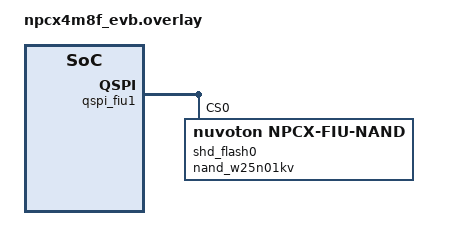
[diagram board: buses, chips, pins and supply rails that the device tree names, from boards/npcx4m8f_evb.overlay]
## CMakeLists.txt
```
# SPDX-License-Identifier: Apache-2.0

cmake_minimum_required(VERSION 3.13.1)

find_package(Zephyr REQUIRED HINTS $ENV{ZEPHYR_BASE})
project(npcx_tests)

zephyr_library_include_directories(${ZEPHYR_BASE}/drivers/flash)

target_sources(app PRIVATE src/main.c)
```

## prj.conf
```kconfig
CONFIG_SERIAL=y
CONFIG_NATIVE_UART_0_ON_STDINOUT=y
CONFIG_PRINTK=y
CONFIG_UART_INTERRUPT_DRIVEN=y
CONFIG_SHELL=y
CONFIG_SHELL_PROMPT_UART="ec:~$ "
CONFIG_LOG=y
CONFIG_FLASH=y
CONFIG_SPI=y
CONFIG_FLASH_JESD216_API=y
CONFIG_LOG_BLOCK_IN_THREAD=y
CONFIG_FLASH_EX_OP_ENABLED=y
```

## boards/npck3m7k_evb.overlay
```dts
/*
 * Copyright (c) 2023 Nuvoton Technology Corporation.
 *
 * SPDX-License-Identifier: Apache-2.0
 */

/ {
	aliases {
		/* For samples/drivers/spi_flash */
		spi-flash0 = &shared_flash;
		shd-flash = &shared_flash;
	};
};
```

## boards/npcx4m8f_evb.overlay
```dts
/*
 * Copyright (c) 2023 Nuvoton Technology Corporation.
 *
 * SPDX-License-Identifier: Apache-2.0
 */

/ {
	chosen {
		zephyr,shell-uart = &uart1;
	};

	aliases {
		/* For samples/drivers/spi_flash */
		spi-flash0 = &shd_flash0;
	};
};

&qspi_fiu1 {
	status = "okay";
	en-direct-access-2dev;

	shd_flash0: nand_w25n01kv@0 {
		compatible ="nuvoton,npcx-fiu-nand";
		size = <0x40000000>; /* 1G bits = 128 Mbytes */
		max-timeout = <86784>;
		reg = <0>;

		status = "okay";

		/* Config for npcx4 SVB board - CS0 */
		qspi-flags = <(NPCX_QSPI_SW_CS0 | NPCX_QSPI_FIU_DRV1)>;
		mapped-addr = <0x68000000>;
		pinctrl-0 = <&fiu_ext_io0_io1_clk_cs_gpa4_96_a2_a0
			     &fiu_ext_quad_io2_io3_gp93_a7
			     &ext_flash_tris_off>;
		pinctrl-names = "default";

		/* Config for npcx4 PIGGY board - CS1 */
		/* qspi-flags = <(NPCX_QSPI_SW_CS0 | NPCX_QSPI_SEC_FLASH_SL |
		                  NPCX_QSPI_FIU_DRV1)>;
		mapped-addr = <0x6C000000>;
		pinctrl-0 = <&fiu_ext_io0_io1_clk_cs_gpa4_96_a2_a0
			     &fiu_ext_quad_io2_io3_gp93_a7
			     &ext_flash_tris_off
			     &ext_flash_cs1_sl>;
		pinctrl-names = "default"; */

		/* Read, write mode selection */
		rd-mode = "NPCX_RD_MODE_FAST_QUAD";
		dmm-cyc = <0x84>;
		wr-mode = "QUAD_OUTPUT";

		/* NAND flash information */
		page-size = <0x800>;    /* 1 page = 2048 bytes*/
		page-num = <0x10000>;
		block-size = <0x20000>; /* 1 block = 64 pages = 128K */
		block-num = <0x400>;
	};
};
```

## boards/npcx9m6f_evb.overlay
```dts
/*
 * Copyright (c) 2023 Nuvoton Technology Corporation.
 *
 * SPDX-License-Identifier: Apache-2.0
 */

/ {
	chosen {
		zephyr,shell-uart = &uart1;
	};

	aliases {
		/* For samples/drivers/spi_flash */
		spi-flash0 = &int_flash;
	};
};
```

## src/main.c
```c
/*
 * Copyright (c) 2023 Nuvoton Technology Corporation.
 *
 * SPDX-License-Identifier: Apache-2.0
 */

#include <zephyr/device.h>
#ifdef CONFIG_FLASH_EX_OP_ENABLED
#include <zephyr/drivers/flash/npcx_flash_api_ex.h>
#endif /* CONFIG_FLASH_EX_OP_ENABLED */
#include <jesd216.h>
#include "spi_nand.h"
#include <zephyr/kernel.h>
#include <zephyr/pm/policy.h>
#include <zephyr/shell/shell.h>
#include <zephyr/shell/shell_uart.h>
#include <stdlib.h>
#include <stdio.h>

/* Target drivers for testing */
#include <zephyr/drivers/flash.h>

#define LOG_LEVEL LOG_LEVEL_INF
#include <zephyr/logging/log.h>
LOG_MODULE_REGISTER(flash);

#define FLASH_DEV0 DT_ALIAS(spi_flash0)
#define FLASH_DEV1 DT_ALIAS(spi_flash1)
#define FLASH_DEV2 DT_ALIAS(spi_flash2)
/* Get device from device tree */
static const struct device *const flash_devices[] = {
#if DT_NODE_HAS_STATUS(FLASH_DEV0, okay)
	DEVICE_DT_GET(FLASH_DEV0),
#endif
#if DT_NODE_HAS_STATUS(FLASH_DEV1, okay)
	DEVICE_DT_GET(FLASH_DEV1),
#endif
#if DT_NODE_HAS_STATUS(FLASH_DEV2, okay)
	DEVICE_DT_GET(FLASH_DEV2),
#endif
};

#define shell_printk(...) \
	shell_print(sh_ptr, ##__VA_ARGS__)

#define NUM_FLASH_DEVICE ARRAY_SIZE(flash_devices)
uint8_t flash_dev_idx_sel;

#define CAL_DATA_FROM_ADDR(n) ((uint8_t)(((n) * 3) + 2) + (n >> 11))

/* Data buffer */
#define TEMP_DATA_BUF_SIZE 2048
static uint8_t temp_data_buf[TEMP_DATA_BUF_SIZE];

/* Commands used for validation */
enum {
	NAND_FLASH_CMD_READ_ID,
	NAND_FLASH_CMD_ERASE,
	NAND_FLASH_CMD_READ,
	NAND_FLASH_CMD_WRITE,
	NAND_FLASH_CMD_READ_STS_REG,
	NAND_FLASH_CMD_WRITE_STS_REG,
	NAND_FLASH_CMD_WP_EN,
	NAND_FLASH_CMD_IS_WP_EN,
	NAND_FLASH_CMD_GET_BAD_BLOCK_LUT,
	NAND_FLASH_CMD_COUNT,
};

/* Objects used for validation */
static struct {
	int cmd;
	struct k_sem sem_sync;

	/* command args */
	struct {
		uint32_t erase_addr;
		uint32_t erase_size;
	} cmd_flash_erase_args;

	struct {
		uint32_t read_addr;
		uint32_t read_size;
	} cmd_flash_read_args;

	struct {
		uint32_t write_addr;
		uint32_t write_size;
	} cmd_flash_write_args;

	struct {
		uint8_t status[2];
	} cmd_flash_wr_status_args;
} nand_flash_test_objs;


uint8_t sts_reg_addr[FLASH_STS_REG_MAX] = {NAND_STS_REG1_ADDR,
									NAND_STS_REG2_ADDR,
									NAND_STS_REG3_ADDR};

struct nand_flash_lut nand_lut;
const struct shell *sh_ptr;

/* Test Function Declarations */
static int nand_flash_read_id(const struct device *flash_dev)
{
	uint8_t id[3];
	int rc;

	rc = flash_read_jedec_id(flash_dev, id);
	if (rc == 0) {
		shell_info(sh_ptr, "JEDEC ID = %#02x %#02x %#02x",
		       id[0], id[1], id[2]);
	} else {
		shell_info(sh_ptr, "JEDEC ID read failed: %d\n", rc);
	}

	return 0;
}

static int nand_flash_erase(const struct device *flash_dev, off_t addr, size_t size)
{
	int rc;
	uint32_t i;
	size_t temp_size, read_size;
	off_t read_addr;

	if (size > SPI_NAND_BLOCK_NUM) {
		LOG_ERR("erase block count exceed %d", SPI_NAND_BLOCK_NUM);
		return -ENODEV;
	}

	size = size * SPI_NAND_BLOCK_SIZE;

	/* Block erase */
	rc = flash_erase(flash_dev, addr, size);
	if (rc != 0) {
		LOG_ERR("flash_erase() failed: %d", rc);
		return -ENODEV;
	}

	/* Read back check */
	temp_size = size;
	read_addr = addr;
	while (temp_size) {
		read_size = (temp_size >= TEMP_DATA_BUF_SIZE) ? TEMP_DATA_BUF_SIZE : temp_size;

		rc = flash_read(flash_dev, read_addr, temp_data_buf, read_size);
		if (rc != 0) {
			LOG_ERR("flash_read() failed: %d", rc);
			return -ENODEV;
		}

		for (i = 0; i < read_size; i++) {
			if (temp_data_buf[i] != 0xFF) {
				LOG_ERR("flash_erase() check failed. Addr: 0x%lx, Data: 0x%x",
					(read_addr + i), temp_data_buf[i]);
				return -ENODEV;
			}
		}

		read_addr += read_size;
		temp_size -= read_size;
	}


	shell_info(sh_ptr, "[PASS] Flash erase succeeded!");
	shell_info(sh_ptr, "[GO]");

	return 0;
}

static int nand_flash_read(const struct device *flash_dev, off_t addr, size_t size)
{
	int rc;
	uint8_t golden8;
	size_t temp_size, read_size;
	off_t read_addr;

	temp_size = size;
	read_addr = addr;
	shell_info(sh_ptr, "Flash Address: 0x%lx, size: 0x%x", addr, size);

	while (temp_size) {
		read_size = (temp_size >= TEMP_DATA_BUF_SIZE) ? TEMP_DATA_BUF_SIZE : temp_size;

		memset(temp_data_buf, 0, sizeof(temp_data_buf));
		rc = flash_read(flash_dev, read_addr, temp_data_buf, read_size);
		if (rc != 0) {
			LOG_ERR("flash_read() failed: %d", rc);
			return -ENODEV;
		}

		/* Verify golden */
		for (int i = 0; i < read_size; i++) {
			golden8 = CAL_DATA_FROM_ADDR((read_addr + i));

			if (temp_data_buf[i] != golden8) {
				shell_info(sh_ptr, "[FAIL] addr=%ld(%#lx), data=%#x, golden: %#x",
						(read_addr + i), (read_addr + i),
						temp_data_buf[i], golden8);
				return -ENODEV;
			}
		}

		read_addr += read_size;
		temp_size -= read_size;
	}

	shell_info(sh_ptr, "[PASS] Flash read succeeded!");
	shell_info(sh_ptr, "[GO]");
	return 0;
}

static int nand_flash_write(const struct device *flash_dev, off_t addr, size_t size)
{
	int ret;
	uint32_t tmp_size;

	/* check address and size sector (512 byte) alignment */
	if ((addr & 0x1ff) != 0 || (size & 0x1ff) != 0) {
		LOG_ERR("flash addr or size not 512 byte alignment");
		return -ENODEV;
	}

	while (size > 0) {
		if (size >= sizeof(temp_data_buf))
			tmp_size = sizeof(temp_data_buf);
		else
			tmp_size = size;

		/* Write golden */
		memset(temp_data_buf, 0, sizeof(temp_data_buf));
		for (int i = 0 ; i < tmp_size ; i++) {
			temp_data_buf[i]  = CAL_DATA_FROM_ADDR((addr + i));
		}

		/* Program data into flash */
		ret = flash_write(flash_dev, addr, temp_data_buf, tmp_size);
		if (ret != 0) {
			LOG_ERR("nand flash write failed: %d", ret);
			return -ENODEV;
		}

		size -= tmp_size;
		addr += tmp_size;
	}

	shell_info(sh_ptr, "Flash write succeeded!");
	shell_info(sh_ptr, "[GO]");
	return 0;
}

static int nand_flash_rdst(const struct device *flash_dev, uint8_t *dest)
{
	struct npcx_ex_ops_uma_in op_in = {
		.opcode = SPI_NAND_CMD_RDSR,
		.tx_buf = sts_reg_addr,
		.tx_count = 1,
		.rx_count = 1,
	};

	struct npcx_ex_ops_uma_out op_out = {
		.rx_buf = dest,
	};

	/* Read status 1 reg */
	flash_ex_op(flash_devices[flash_dev_idx_sel],
					FLASH_NPCX_EX_OP_EXEC_UMA,
					(uintptr_t)&op_in, &op_out);

	/* Read status 2 reg */
	op_in.tx_buf = sts_reg_addr + 1;
	op_out.rx_buf = dest + 1;

	flash_ex_op(flash_devices[flash_dev_idx_sel],
					FLASH_NPCX_EX_OP_EXEC_UMA,
					(uintptr_t)&op_in, &op_out);

	/* Read status 3 reg */
	op_in.tx_buf = sts_reg_addr + 2;
	op_out.rx_buf = dest + 2;
	flash_ex_op(flash_devices[flash_dev_idx_sel],
					FLASH_NPCX_EX_OP_EXEC_UMA,
					(uintptr_t)&op_in, &op_out);
	return 0;
}

static int nand_flash_wrst(const struct device *flash_dev,
				uint8_t reg1, uint8_t reg2)
{
	uint8_t tx_val[2];
	struct npcx_ex_ops_uma_in op_in;

	/* Write status_1 regs */
	tx_val[0] = sts_reg_addr[0]; /* pack addr */
	tx_val[1] = reg1;			 /* pack data */
	op_in.opcode = SPI_NAND_CMD_WRSR;
	op_in.tx_buf = tx_val;
	op_in.tx_count = 2;
	flash_ex_op(flash_dev,
				FLASH_NPCX_EX_OP_EXEC_UMA,
				(uintptr_t)&op_in, NULL);

	/* Write status_2 regs */
	tx_val[0] = sts_reg_addr[1];
	tx_val[1] = reg2;
	op_in.opcode = SPI_NAND_CMD_WRSR;
	op_in.tx_buf = tx_val;
	op_in.tx_count = 2;
	flash_ex_op(flash_dev,
				FLASH_NPCX_EX_OP_EXEC_UMA,
				(uintptr_t)&op_in, NULL);
	return 0;
}

static int nand_flash_get_lut(const struct device *flash_dev,
				struct nand_flash_lut *lut_ptr)
{
	return flash_ex_op(flash_dev, FLASH_NPCX_EX_OP_NAND_GET_BAD_BLOCK_LUT,
				(uintptr_t)NULL, lut_ptr);
}

static void nand_flash_thread_entry(void)
{
	for (int i = 0; i < NUM_FLASH_DEVICE; i++) {
		if (!device_is_ready(flash_devices[i])) {
			LOG_ERR("flash device %s is not ready", flash_devices[i]->name);
			return;
		}

		LOG_INF("flash device [%d]:%s is ready", i, flash_devices[i]->name);
	}

	/* Init semaphore first */
	k_sem_init(&nand_flash_test_objs.sem_sync, 0, 1);

	while (true) {
		/* Task wait event here */
		k_sem_take(&nand_flash_test_objs.sem_sync, K_FOREVER);

		switch (nand_flash_test_objs.cmd) {
		case NAND_FLASH_CMD_READ_ID:
			shell_info(sh_ptr, "Read NAND FLASH ID");
			nand_flash_read_id(flash_devices[flash_dev_idx_sel]);
			break;
		case NAND_FLASH_CMD_ERASE:
			shell_info(sh_ptr, "Erase NAND FLASH");
			nand_flash_erase(flash_devices[flash_dev_idx_sel],
					nand_flash_test_objs.cmd_flash_erase_args.erase_addr,
					nand_flash_test_objs.cmd_flash_erase_args.erase_size);
			break;
		case NAND_FLASH_CMD_READ:
			shell_info(sh_ptr, "Read NAND FLASH");
			nand_flash_read(flash_devices[flash_dev_idx_sel],
				       nand_flash_test_objs.cmd_flash_read_args.read_addr,
				       nand_flash_test_objs.cmd_flash_read_args.read_size);
			break;
		case NAND_FLASH_CMD_WRITE:
			shell_info(sh_ptr, "Write NAND FLASH");
			nand_flash_write(flash_devices[flash_dev_idx_sel],
					nand_flash_test_objs.cmd_flash_write_args.write_addr,
					nand_flash_test_objs.cmd_flash_write_args.write_size);
			break;
#ifdef CONFIG_FLASH_EX_OP_ENABLED
		case NAND_FLASH_CMD_READ_STS_REG:
		{
			uint8_t reg[3];

			nand_flash_rdst(flash_devices[flash_dev_idx_sel], reg);
			shell_info(sh_ptr, "READ NAND FLASH STATUS 0~3 (%#02x, %#02x, %#02x)",
					reg[0], reg[1], reg[2]);
			break;
		}
		case NAND_FLASH_CMD_WRITE_STS_REG:
		{
			uint8_t reg[2];

			reg[0] = nand_flash_test_objs.cmd_flash_wr_status_args.status[0];
			reg[1] = nand_flash_test_objs.cmd_flash_wr_status_args.status[1];
			shell_info(sh_ptr, "WRITE NAND FLASH STATUS 0 and 1 (%#02x, %#02x)", reg[0], reg[1]);
			nand_flash_wrst(flash_devices[flash_dev_idx_sel], reg[0], reg[1]);
			break;
		}
		case NAND_FLASH_CMD_GET_BAD_BLOCK_LUT:
		{
			struct nand_flash_lut nand_lut;

			shell_info(sh_ptr, "Get bad block lut");
			nand_flash_get_lut(flash_devices[flash_dev_idx_sel],
								&nand_lut);

			/* Show result */
			shell_info(sh_ptr, "Is lut init: %s",
					(nand_lut.is_inited == 1) ? "YES" : "NO");
			if (nand_lut.bbt_count <= 0x0) {
				shell_info(sh_ptr, "All blocks are good !!");
			} else {
				shell_info(sh_ptr, "Bad block count: %d", nand_lut.bbt_count);
				/* Show bad block index (0~1023) */
				for (int i = 0; i < nand_lut.bbt_count; i++)
					shell_info(sh_ptr, "Bad block index: %d",
							nand_lut.bbt_list[i]);
			}

			break;
		}
#endif /* CONFIG_FLASH_EX_OP_ENABLED */
		default:
			break;
		}
	};
}

/* Test thread declaration */
#define STACK_SIZE      1024
#define THREAD_PRIORITY 1
K_THREAD_DEFINE(nand_flash_thread_id, STACK_SIZE, nand_flash_thread_entry, NULL, NULL, NULL,
		THREAD_PRIORITY, 0, -1);

int main(void)
{

	/* Zephyr driver validation main */
	LOG_INF("Start CI20 Validation Task");

	/* Init thread */
	k_thread_name_set(nand_flash_thread_id, "nand_flash_testing");
	k_thread_start(nand_flash_thread_id);

	return 0;
}

static int nand_flash_read_id_handler(const struct shell *shell, size_t argc, char **argv)
{
	sh_ptr = shell;

	nand_flash_test_objs.cmd = NAND_FLASH_CMD_READ_ID;

	/* Send event to task and wake it up */
	k_sem_give(&nand_flash_test_objs.sem_sync);

	return 0;
}

static int nand_flash_erase_handler(const struct shell *shell, size_t argc, char **argv)
{
	char *eptr;
	uint32_t addr;
	uint32_t size;

	sh_ptr = shell;

	nand_flash_test_objs.cmd = NAND_FLASH_CMD_ERASE;

	/* Convert integer from string */
	addr = strtoul(argv[1], &eptr, 0);
	if (*eptr != '\0') {
		shell_error(shell, "Invalid argument, '%s' is not an integer", argv[1]);
		return -EINVAL;
	}

	size = strtoul(argv[2], &eptr, 0);
	if (*eptr != '\0') {
		shell_error(shell, "Invalid argument, '%s' is not an integer", argv[2]);
		return -EINVAL;
	}

	nand_flash_test_objs.cmd_flash_erase_args.erase_addr = addr;
	nand_flash_test_objs.cmd_flash_erase_args.erase_size = size;

	/* Send event to task and wake it up */
	k_sem_give(&nand_flash_test_objs.sem_sync);

	return 0;
}

static int nand_flash_read_handler(const struct shell *shell, size_t argc, char **argv)
{
	char *eptr;
	uint32_t addr;
	uint32_t size;

	sh_ptr = shell;

	nand_flash_test_objs.cmd = NAND_FLASH_CMD_READ;

	/* Convert integer from string */
	addr = strtoul(argv[1], &eptr, 0);
	if (*eptr != '\0') {
		shell_error(shell, "Invalid argument, '%s' is not an integer", argv[1]);
		return -EINVAL;
	}

	size = strtoul(argv[2], &eptr, 0);
	if (*eptr != '\0') {
		shell_error(shell, "Invalid argument, '%s' is not an integer", argv[2]);
		return -EINVAL;
	}

	nand_flash_test_objs.cmd_flash_read_args.read_addr = addr;
	nand_flash_test_objs.cmd_flash_read_args.read_size = size;

	/* Send event to task and wake it up */
	k_sem_give(&nand_flash_test_objs.sem_sync);

	return 0;
}

static int nand_flash_write_handler(const struct shell *shell, size_t argc, char **argv)
{
	char *eptr;
	uint32_t addr;
	uint32_t size;

	sh_ptr = shell;

	nand_flash_test_objs.cmd = NAND_FLASH_CMD_WRITE;

	/* Convert integer from string */
	addr = strtoul(argv[1], &eptr, 0);
	if (*eptr != '\0') {
		shell_error(shell, "Invalid argument, '%s' is not an integer", argv[1]);
		return -EINVAL;
	}

	size = strtoul(argv[2], &eptr, 0);
	if (*eptr != '\0') {
		shell_error(shell, "Invalid argument, '%s' is not an integer", argv[2]);
		return -EINVAL;
	}

	nand_flash_test_objs.cmd_flash_write_args.write_addr = addr;
	nand_flash_test_objs.cmd_flash_write_args.write_size = size;

	/* Send event to task and wake it up */
	k_sem_give(&nand_flash_test_objs.sem_sync);

	return 0;
}

#ifdef CONFIG_FLASH_EX_OP_ENABLED
static int nand_flash_read_sts_reg_handler(const struct shell *shell, size_t argc, char **argv)
{
	nand_flash_test_objs.cmd = NAND_FLASH_CMD_READ_STS_REG;

	sh_ptr = shell;

	/* Send event to task and wake it up */
	k_sem_give(&nand_flash_test_objs.sem_sync);

	return 0;
}

static int nand_flash_write_sts_reg_handler(const struct shell *shell, size_t argc, char **argv)
{
	char *eptr;
	uint32_t sts1, sts2;

	sh_ptr = shell;

	nand_flash_test_objs.cmd = NAND_FLASH_CMD_WRITE_STS_REG;
	/* Convert integer from string */
	sts1 = strtoul(argv[1], &eptr, 0);
	if (*eptr != '\0') {
		shell_error(shell, "Invalid argument, '%s' is not an integer", argv[1]);
		return -EINVAL;
	}

	sts2 = strtoul(argv[2], &eptr, 0);
	if (*eptr != '\0') {
		shell_error(shell, "Invalid argument, '%s' is not an integer", argv[2]);
		return -EINVAL;
	}

	nand_flash_test_objs.cmd_flash_wr_status_args.status[0] = (sts1 & 0xff);
	nand_flash_test_objs.cmd_flash_wr_status_args.status[1] = (sts2 & 0xff);

	/* Send event to task and wake it up */
	k_sem_give(&nand_flash_test_objs.sem_sync);

	return 0;
}

static int nand_flash_rdlut_handler(const struct shell *shell, size_t argc, char **argv)
{
	nand_flash_test_objs.cmd = NAND_FLASH_CMD_GET_BAD_BLOCK_LUT;

	sh_ptr = shell;

	/* Send event to task and wake it up */
	k_sem_give(&nand_flash_test_objs.sem_sync);

	return 0;
}
#endif /* CONFIG_FLASH_EX_OP_ENABLED */

/* Multi SPI NAND flash devices */
static int nand_flash_active_handler(const struct shell *shell, size_t argc, char **argv)
{
	char *eptr;
	uint32_t active_dev;

	sh_ptr = shell;

	if (argc == 1) {
		shell_info(sh_ptr, "Active flash device Index = %d", flash_dev_idx_sel);
		return 0;
	}

	active_dev = strtoul(argv[1], &eptr, 0);
	if (*eptr != '\0') {
		shell_error(shell, "Invalid argument, '%s' is not an integer", argv[1]);
		return -EINVAL;
	}

	if (active_dev < NUM_FLASH_DEVICE) {
		flash_dev_idx_sel = active_dev;
	} else {
		flash_dev_idx_sel = 0;
	}

	shell_info(sh_ptr, "Select active flash device to [%d]%s", flash_dev_idx_sel,
					flash_devices[flash_dev_idx_sel]->name);
	return 0;
}

static int nand_flash_list_handler(const struct shell *shell, size_t argc, char **argv)
{
	sh_ptr = shell;

	for (int i = 0; i < NUM_FLASH_DEVICE; i++) {
		shell_info(sh_ptr, "flash device [%d]:%s", i, flash_devices[i]->name);
	}
	shell_info(sh_ptr, "Current active index = %d", flash_dev_idx_sel);
	return 0;
}

SHELL_STATIC_SUBCMD_SET_CREATE(sub_nand_flash,
	SHELL_CMD_ARG(id, NULL, "nand_flash id: read flash id",
		nand_flash_read_id_handler, 1, 0),
	SHELL_CMD_ARG(erase, NULL, "nand_flash erase <addr> <block count>: erase flash",
		nand_flash_erase_handler, 3, 0),
	SHELL_CMD_ARG(read, NULL, "nand_flash read <addr> <size>: read flash",
		nand_flash_read_handler, 3, 0),
	SHELL_CMD_ARG(write, NULL, "nand_flash write <addr> <size>: write flash",
		nand_flash_write_handler, 3, 0),
#ifdef CONFIG_FLASH_EX_OP_ENABLED
	SHELL_CMD_ARG(rdst, NULL, "nand_flash rdst: read flash status registers",
		nand_flash_read_sts_reg_handler, 1, 0),
	SHELL_CMD_ARG(wrst, NULL, "nand_flash wrst <sts1> <sts2>: write flash status registers",
		nand_flash_write_sts_reg_handler, 3, 0),
	SHELL_CMD_ARG(rdlut, NULL, "nand_flash rdlut: read lookup table status",
		nand_flash_rdlut_handler, 1, 0),
#endif /* CONFIG_FLASH_EX_OP_ENABLED */
	SHELL_CMD_ARG(active, NULL, "nand_flash active <device>: select active device",
		nand_flash_active_handler, 1, 1),
	SHELL_CMD_ARG(list, NULL, "nand_flash list: list all flash devices",
		nand_flash_list_handler, 1, 0),
SHELL_SUBCMD_SET_END /* Array terminated. */
);
SHELL_CMD_REGISTER(nand_flash, &sub_nand_flash, "NAND Flash validation commands", NULL);
```
